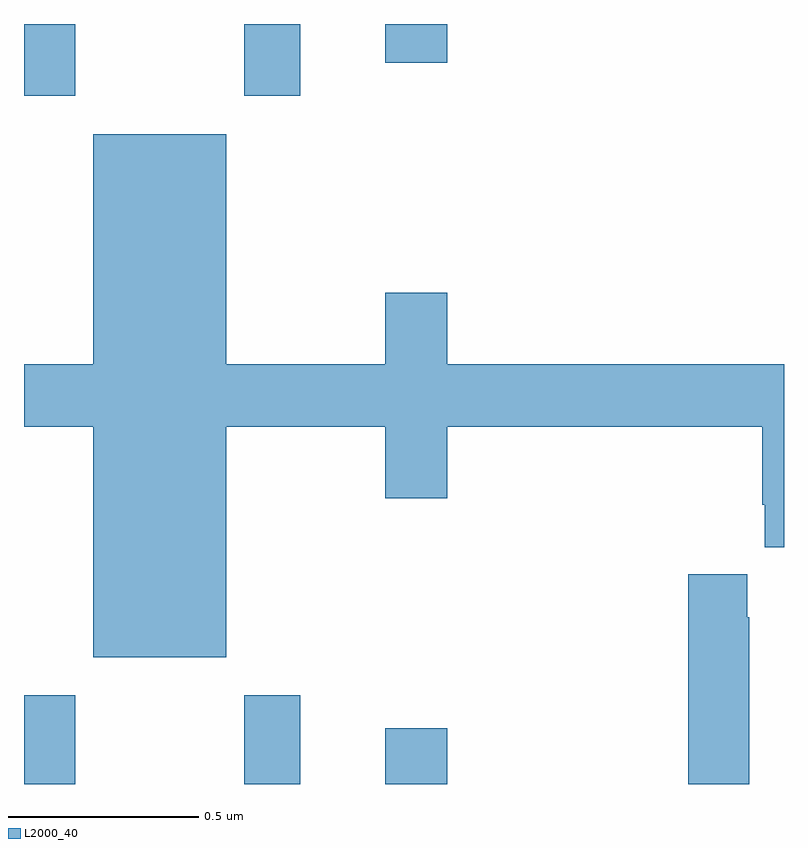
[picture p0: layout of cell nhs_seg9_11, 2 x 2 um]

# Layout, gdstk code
import gdstk
lib = gdstk.Library(unit=1e-6, precision=1e-09)
def R(c, l, rs):  # rectangles x0, y0, x1, y1
    for r in rs: c.add(gdstk.rectangle(r[:2], r[2:], *l))
def P(c, l, *ps):  # polygons
    for p in ps: c.add(gdstk.Polygon(p, *l))
L2000_40 = (2000, 40)

nhs_seg9_11 = lib.new_cell('nhs_seg9_11')
R(nhs_seg9_11, L2000_40, [(111,1175.5,111.135,1175.734), (111.58,1175.5,111.727,1175.734), (111.95,1175.5,112.114,1175.647), (111,1177.311,111.135,1177.5), (111.58,1177.311,111.727,1177.5), (111.95,1177.398,112.114,1177.5)])
P(nhs_seg9_11, L2000_40, [(111.532,1176.44),(111.95,1176.44),(111.95,1176.252),(112.114,1176.252),(112.114,1176.44),(112.943,1176.44),(112.943,1176.235),(112.949,1176.235),(112.949,1176.123),(113,1176.123),(113,1176.604),(112.114,1176.604),(112.114,1176.793),(111.95,1176.793),(111.95,1176.604),(111.532,1176.604),(111.532,1177.21),(111.182,1177.21),(111.182,1176.604),(111,1176.604),(111,1176.44),(111.182,1176.44),(111.182,1175.834),(111.532,1175.834)],
  [(112.908,1175.939),(112.903,1175.939),(112.903,1176.052),(112.748,1176.052),(112.748,1175.5),(112.908,1175.5)])

lib.write_gds('nhs_seg9_11.gds')
